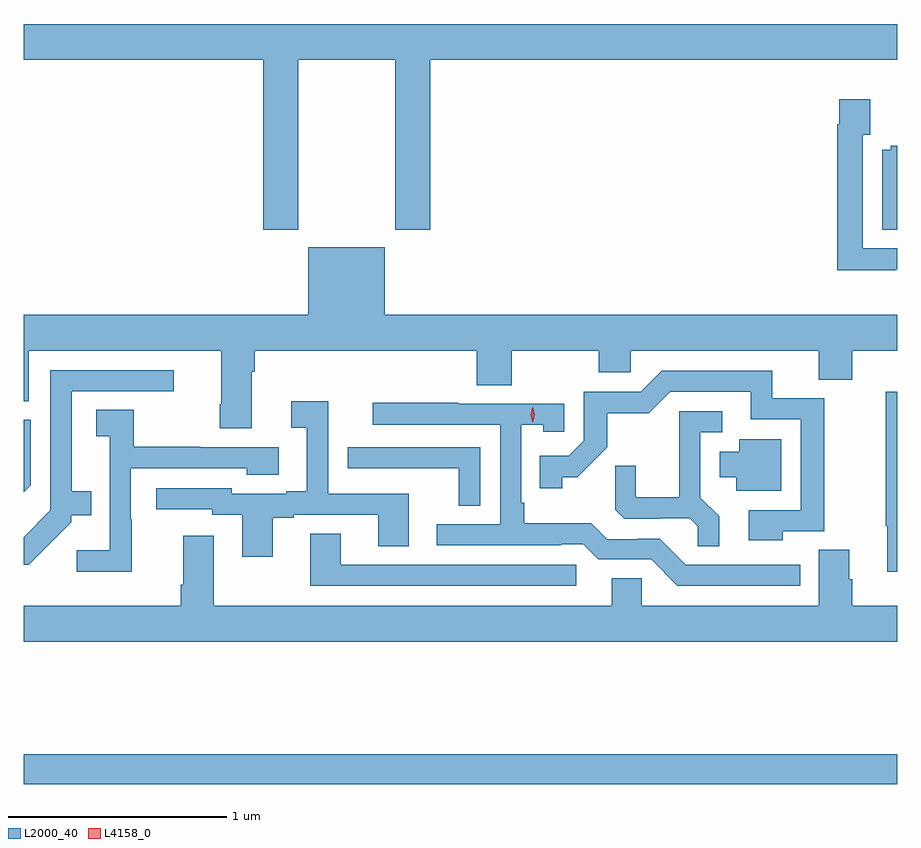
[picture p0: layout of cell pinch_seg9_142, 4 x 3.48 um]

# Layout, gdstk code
import gdstk
lib = gdstk.Library(unit=1e-6, precision=1e-09)
def R(c, l, rs):  # rectangles x0, y0, x1, y1
    for r in rs: c.add(gdstk.rectangle(r[:2], r[2:], *l))
def P(c, l, *ps):  # polygons
    for p in ps: c.add(gdstk.Polygon(p, *l))
L2000_40 = (2000, 40)
L4158_0 = (4158, 0)

pinch_seg9_142 = lib.new_cell('pinch_seg9_142')
R(pinch_seg9_142, L2000_40, [(671.107,1233.064,675.107,1233.2)])
P(pinch_seg9_142, L2000_40, [(672.363,1236.38),(672.808,1236.38),(672.808,1235.601),(672.968,1235.601),(672.968,1236.38),(675.107,1236.38),(675.107,1236.544),(671.107,1236.544),(671.107,1236.38),(672.203,1236.38),(672.203,1235.601),(672.363,1235.601)],
  [(675.103,1235.421),(675.107,1235.421),(675.107,1235.517),(674.949,1235.517),(674.949,1236.038),(674.983,1236.038),(674.983,1236.199),(674.841,1236.199),(674.841,1236.086),(674.833,1236.086),(674.833,1235.417),(675.103,1235.417)],
  [(675.107,1235.986),(675.078,1235.986),(675.078,1235.968),(675.038,1235.968),(675.038,1235.602),(675.107,1235.602)],
  [(672.41,1235.521),(672.41,1235.212),(671.107,1235.212),(671.107,1234.816),(671.131,1234.816),(671.131,1235.048),(672.011,1235.048),(672.011,1234.804),(672.004,1234.804),(672.004,1234.692),(672.151,1234.692),(672.151,1234.952),(672.164,1234.952),(672.164,1235.048),(673.181,1235.048),(673.181,1234.891),(673.341,1234.891),(673.341,1235.048),(673.741,1235.048),(673.741,1234.95),(673.887,1234.95),(673.887,1235.048),(674.747,1235.048),(674.747,1234.915),(674.9,1234.915),(674.9,1235.048),(675.107,1235.048),(675.107,1235.212),(672.76,1235.212),(672.76,1235.521)],
  [(671.325,1234.263),(671.325,1234.295),(671.417,1234.295),(671.417,1234.405),(671.326,1234.405),(671.326,1234.863),(671.794,1234.863),(671.794,1234.959),(671.229,1234.959),(671.229,1234.317),(671.107,1234.195),(671.107,1234.068),(671.13,1234.068)],
  [(674.583,1234.221),(674.773,1234.221),(674.773,1234.83),(674.534,1234.83),(674.534,1234.956),(674.028,1234.956),(673.932,1234.86),(673.671,1234.86),(673.671,1234.635),(673.602,1234.566),(673.471,1234.566),(673.471,1234.419),(673.572,1234.419),(673.572,1234.469),(673.642,1234.469),(673.78,1234.606),(673.78,1234.762),(673.969,1234.762),(674.067,1234.86),(674.435,1234.86),(674.435,1234.734),(674.664,1234.734),(674.664,1234.317),(674.427,1234.317),(674.427,1234.181),(674.583,1234.181)],
  [(675.107,1234.861),(675.055,1234.861),(675.055,1234.247),(675.062,1234.247),(675.062,1234.035),(675.107,1234.035)],
  [(672.247,1234.284),(672.343,1234.284),(672.343,1234.296),(672.731,1234.296),(672.731,1234.153),(672.871,1234.153),(672.871,1234.392),(672.501,1234.392),(672.501,1234.816),(672.333,1234.816),(672.333,1234.696),(672.404,1234.696),(672.404,1234.405),(672.308,1234.405),(672.308,1234.392),(672.06,1234.392),(672.06,1234.419),(671.715,1234.419),(671.715,1234.323),(671.97,1234.323),(671.97,1234.296),(672.107,1234.296),(672.107,1234.104),(672.247,1234.104)],
  [(674.662,1234.068),(674.139,1234.068),(674.019,1234.188),(673.918,1234.188),(673.918,1234.185),(673.779,1234.185),(673.706,1234.258),(673.399,1234.258),(673.399,1234.351),(673.386,1234.351),(673.386,1234.709),(673.485,1234.709),(673.485,1234.677),(673.581,1234.677),(673.581,1234.806),(673.097,1234.806),(673.097,1234.809),(672.705,1234.809),(672.705,1234.71),(673.29,1234.71),(673.29,1234.254),(672.999,1234.254),(672.999,1234.158),(673.568,1234.158),(673.568,1234.161),(673.668,1234.161),(673.737,1234.092),(673.98,1234.092),(674.1,1233.972),(674.662,1233.972)],
  [(671.601,1234.277),(671.598,1234.277),(671.598,1234.509),(672.129,1234.509),(672.129,1234.481),(672.274,1234.481),(672.274,1234.605),(671.915,1234.605),(671.915,1234.608),(671.611,1234.608),(671.611,1234.778),(671.439,1234.778),(671.439,1234.657),(671.502,1234.657),(671.502,1234.135),(671.349,1234.135),(671.349,1234.037),(671.601,1234.037)],
  [(674.291,1234.289),(674.205,1234.375),(674.205,1234.674),(674.305,1234.674),(674.305,1234.77),(674.108,1234.77),(674.108,1234.378),(673.91,1234.378),(673.91,1234.521),(673.816,1234.521),(673.816,1234.319),(673.857,1234.278),(674.022,1234.278),(674.022,1234.281),(674.156,1234.281),(674.193,1234.244),(674.193,1234.153),(674.291,1234.153)],
  [(671.139,1234.433),(671.139,1234.731),(671.107,1234.731),(671.107,1234.401)],
  [(674.575,1234.642),(674.384,1234.642),(674.384,1234.585),(674.294,1234.585),(674.294,1234.469),(674.369,1234.469),(674.369,1234.406),(674.575,1234.406)],
  [(673.197,1234.605),(672.591,1234.605),(672.591,1234.51),(672.703,1234.51),(672.703,1234.509),(673.099,1234.509),(673.099,1234.339),(673.197,1234.339)],
  [(673.636,1234.068),(672.559,1234.068),(672.559,1234.211),(672.419,1234.211),(672.419,1233.972),(673.636,1233.972)],
  [(675.107,1233.88),(674.9,1233.88),(674.9,1234.002),(674.887,1234.002),(674.887,1234.136),(674.747,1234.136),(674.747,1233.88),(673.938,1233.88),(673.938,1234.007),(673.799,1234.007),(673.799,1233.88),(671.977,1233.88),(671.977,1234.201),(671.837,1234.201),(671.837,1233.976),(671.825,1233.976),(671.825,1233.88),(671.107,1233.88),(671.107,1233.716),(675.107,1233.716)])
P(pinch_seg9_142, L4158_0, [(673.438,1234.719),(673.438,1234.719),(673.428,1234.755),(673.438,1234.79),(673.438,1234.791),(673.438,1234.79),(673.448,1234.755),(673.438,1234.719)])

lib.write_gds('pinch_seg9_142.gds')
